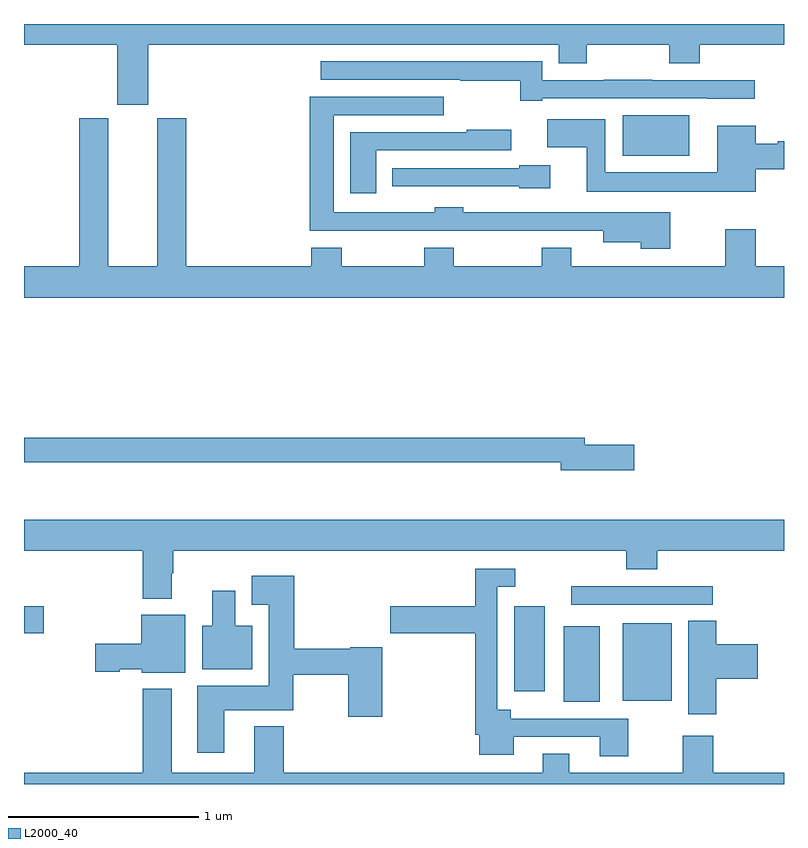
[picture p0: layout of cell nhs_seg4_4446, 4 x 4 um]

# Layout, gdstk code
import gdstk
lib = gdstk.Library(unit=1e-6, precision=1e-09)
def R(c, l, rs):  # rectangles x0, y0, x1, y1
    for r in rs: c.add(gdstk.rectangle(r[:2], r[2:], *l))
def P(c, l, *ps):  # polygons
    for p in ps: c.add(gdstk.Polygon(p, *l))
L2000_40 = (2000, 40)

nhs_seg4_4446 = lib.new_cell('nhs_seg4_4446')
R(nhs_seg4_4446, L2000_40, [(351.842,821.333,352.03,821.731), (352.151,821.339,352.408,821.746), (351.581,821.388,351.742,821.836), (349,821.693,349.105,821.835), (351.879,821.844,352.624,821.94), (352.151,824.207,352.501,824.419)])
P(nhs_seg4_4446, L2000_40, [(349.654,824.792),(351.815,824.792),(351.815,824.693),(351.963,824.693),(351.963,824.792),(352.396,824.792),(352.396,824.693),(352.556,824.693),(352.556,824.792),(353,824.792),(353,824.9),(349,824.9),(349,824.792),(349.49,824.792),(349.49,824.475),(349.654,824.475)],
  [(351.727,824.508),(352.597,824.508),(352.597,824.507),(352.846,824.507),(352.846,824.604),(352.307,824.604),(352.307,824.606),(352.051,824.606),(352.051,824.604),(351.727,824.604),(351.727,824.703),(350.562,824.703),(350.562,824.607),(351.295,824.607),(351.295,824.602),(351.613,824.602),(351.613,824.496),(351.727,824.496)],
  [(352.401,823.909),(352.153,823.909),(352.153,823.908),(351.312,823.908),(351.312,823.936),(351.162,823.936),(351.162,823.909),(350.95,823.909),(350.95,823.908),(350.629,823.908),(350.629,824.421),(351.208,824.421),(351.208,824.517),(350.504,824.517),(350.504,823.811),(351.635,823.811),(351.635,823.812),(352.049,823.812),(352.049,823.751),(352.246,823.751),(352.246,823.718),(352.401,823.718)],
  [(353,823.624),(352.85,823.624),(352.85,823.819),(352.69,823.819),(352.69,823.624),(351.879,823.624),(351.879,823.723),(351.724,823.723),(351.724,823.624),(351.261,823.624),(351.261,823.723),(351.106,823.723),(351.106,823.624),(350.673,823.624),(350.673,823.723),(350.513,823.723),(350.513,823.624),(349.853,823.624),(349.853,824.403),(349.7,824.403),(349.7,823.624),(349.444,823.624),(349.444,824.403),(349.292,824.403),(349.292,823.624),(349,823.624),(349,823.46),(353,823.46)],
  [(352.852,824.135),(353,824.135),(353,824.282),(352.968,824.282),(352.968,824.269),(352.852,824.269),(352.852,824.365),(352.649,824.365),(352.649,824.119),(352.059,824.119),(352.059,824.398),(351.753,824.398),(351.753,824.252),(351.962,824.252),(351.962,824.018),(352.852,824.018)],
  [(350.854,824.235),(351.565,824.235),(351.565,824.344),(351.329,824.344),(351.329,824.331),(350.717,824.331),(350.717,824.01),(350.854,824.01)],
  [(351.769,824.157),(351.606,824.157),(351.606,824.142),(350.939,824.142),(350.939,824.046),(351.606,824.046),(351.606,824.036),(351.769,824.036)],
  [(352.213,822.686),(351.952,822.686),(351.952,822.722),(349,822.722),(349,822.594),(351.824,822.594),(351.824,822.551),(352.213,822.551)],
  [(349.777,822.008),(349.785,822.008),(349.785,822.128),(352.169,822.128),(352.169,822.029),(352.334,822.029),(352.334,822.128),(353,822.128),(353,822.292),(349,822.292),(349,822.128),(349.625,822.128),(349.625,821.876),(349.777,821.876)],
  [(352.179,821.244),(351.562,821.244),(351.562,821.29),(351.492,821.29),(351.492,821.937),(351.586,821.937),(351.586,822.033),(351.376,822.033),(351.376,821.835),(350.928,821.835),(350.928,821.693),(351.376,821.693),(351.376,821.158),(351.395,821.158),(351.395,821.054),(351.577,821.054),(351.577,821.148),(352.031,821.148),(352.031,821.046),(352.179,821.046)],
  [(350.053,821.288),(350.418,821.288),(350.418,821.476),(350.707,821.476),(350.707,821.253),(350.885,821.253),(350.885,821.62),(350.718,821.62),(350.718,821.612),(350.423,821.612),(350.423,821.995),(350.198,821.995),(350.198,821.843),(350.288,821.843),(350.288,821.416),(349.913,821.416),(349.913,821.064),(350.053,821.064)],
  [(350.2,821.734),(350.113,821.734),(350.113,821.917),(349.991,821.917),(349.991,821.734),(349.937,821.734),(349.937,821.504),(350.2,821.504)],
  [(349.849,821.791),(349.616,821.791),(349.616,821.639),(349.374,821.639),(349.374,821.492),(349.503,821.492),(349.503,821.504),(349.62,821.504),(349.62,821.486),(349.849,821.486)],
  [(352.643,821.453),(352.861,821.453),(352.861,821.636),(352.643,821.636),(352.643,821.759),(352.496,821.759),(352.496,821.268),(352.643,821.268)],
  [(353,820.96),(352.628,820.96),(352.628,821.155),(352.468,821.155),(352.468,820.96),(351.871,820.96),(351.871,821.059),(351.731,821.059),(351.731,820.96),(350.366,820.96),(350.366,821.203),(350.213,821.203),(350.213,820.96),(349.777,820.96),(349.777,821.401),(349.625,821.401),(349.625,820.96),(349,820.96),(349,820.9),(353,820.9)])

lib.write_gds('nhs_seg4_4446.gds')
